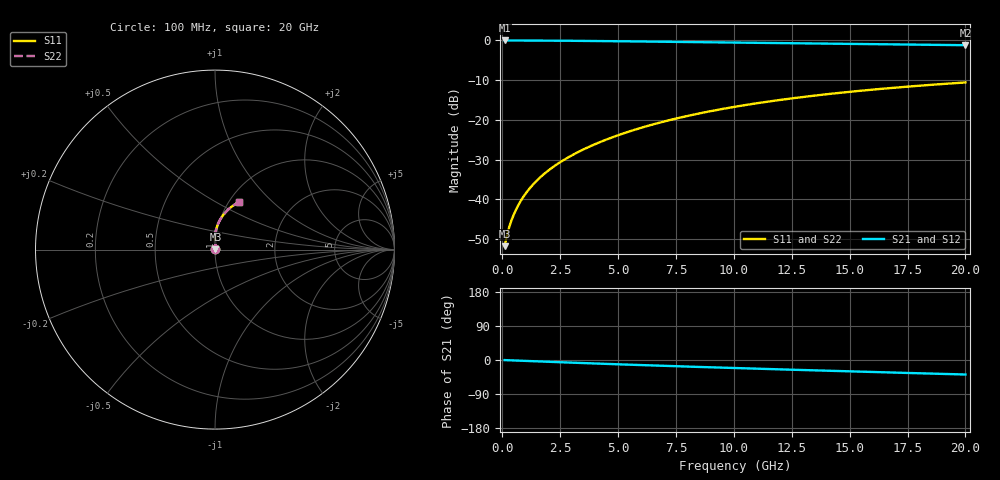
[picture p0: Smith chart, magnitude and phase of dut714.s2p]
! Touchstone file exported from HFSS 2024.1.0
!  File:  C:/UserFiles/LocalFiles/RDL_TSV_Batchsim/temp_RDL_bottom_714_1779858156.aedt
!  Generated:  01:05:06 PM May 27, 2026
!  Design:  RDL_bottom
!  Project:  temp_RDL_bottom_714_1779858156
!  Setup:  Setup1
!  Solution:  Sweep
! Variables:
!  dtsv = 10.80580581um
!  hbump = 3um
!  htsv = 77.22um
!  ldown = 569.83um
!  lrdl = 100um
!  p = 40
!  p1 = 51.09um
!  rhole = 1um
!  t = 450um
!  tdown = 3.68um
!  trdl = 3.915915916um
!  wdown = 28.39um
!  wrdl = 20um
# GHz S MA R 50.000000
! Terminal data exported
! Port[1] = RDL1_T1
! Port[2] = RDL1_T2
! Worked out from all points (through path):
!   200 points, 100 MHz to 20 GHz, reference 50 ohm
!   highest |S21| = -0.02 dB at 100 MHz (marker M1); lowest = -1.2 dB at 20 GHz (marker M2)
!   group delay of S21, straight-line fit = 5.24 ps
!   lowest |S11| = -51.8 dB at 100 MHz (marker M3), VSWR 1.01, Z = 50.2 + j0.137 ohm
!   |S11| at or under -10 dB: start of sweep to end of sweep
!   |S22| runs from -51.8 to -10.6 dB; largest |S21 - S12| = 4.3e-15
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0.1  0.002576 31.9  0.9978 -0.3  0.9978 -0.3  0.002576 31.9
! Gamma 0 0 0 0
! Port Impedance 50 0 50 0
0.2  0.003505 47.9  0.9976 -0.5  0.9976 -0.5  0.003505 47.9
0.3  0.004491 56.4  0.9974 -0.7  0.9974 -0.7  0.004491 56.4
0.4  0.005479 62.1  0.9972 -1.0  0.9972 -1.0  0.005479 62.1
0.5  0.006478 66.3  0.997 -1.2  0.997 -1.2  0.006478 66.3
0.6  0.007494 69.6  0.9968 -1.4  0.9968 -1.4  0.007494 69.6
0.8  0.009581 74.4  0.9965 -1.9  0.9965 -1.9  0.009581 74.4
1  0.01173 77.7  0.9961 -2.4  0.9961 -2.4  0.01173 77.8
1.2  0.01394 80.2  0.9956 -2.9  0.9956 -2.9  0.01394 80.2
1.7  0.01964 84.3  0.9941 -4.0  0.9941 -4.0  0.01964 84.3
2.2  0.02561 86.7  0.9921 -5.2  0.9921 -5.2  0.02561 86.8
2.8  0.03314 88.6  0.9893 -6.6  0.9893 -6.6  0.03314 88.6
3.5  0.04242 89.8  0.9854 -8.1  0.9854 -8.1  0.04243 89.8
4.2  0.05224 90.4  0.9809 -9.7  0.9809 -9.7  0.05225 90.4
5  0.06405 90.3  0.9754 -11.4  0.9754 -11.4  0.06407 90.4
6.8  0.09238 88.7  0.9622 -15.0  0.9622 -15.0  0.09241 88.7
8.4  0.1187 86.2  0.9502 -18.1  0.9502 -18.1  0.1188 86.2
10.1  0.147 83.0  0.9377 -21.3  0.9377 -21.3  0.1471 83.0
11.7  0.1734 79.7  0.9262 -24.2  0.9262 -24.2  0.1734 79.7
13.4  0.2006 76.3  0.9143 -27.2  0.9143 -27.2  0.2007 76.3
16.7  0.2505 69.6  0.8917 -32.8  0.8917 -32.8  0.2506 69.6
20  0.2956 63.4  0.8698 -38.3  0.8698 -38.3  0.2957 63.4
